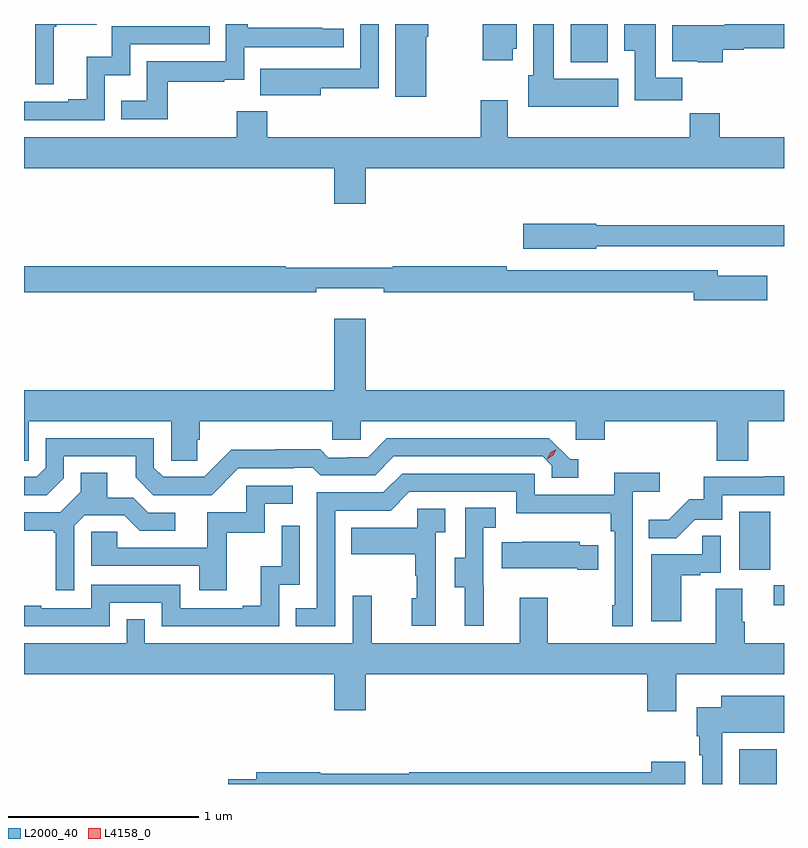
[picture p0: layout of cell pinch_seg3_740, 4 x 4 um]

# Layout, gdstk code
import gdstk
lib = gdstk.Library(unit=1e-6, precision=1e-09)
def R(c, l, rs):  # rectangles x0, y0, x1, y1
    for r in rs: c.add(gdstk.rectangle(r[:2], r[2:], *l))
def P(c, l, *ps):  # polygons
    for p in ps: c.add(gdstk.Polygon(p, *l))
L2000_40 = (2000, 40)
L4158_0 = (4158, 0)

pinch_seg3_740 = lib.new_cell('pinch_seg3_740')
R(pinch_seg3_740, L2000_40, [(838.466,744.295,838.663,744.478), (838.647,745.236,838.702,745.341), (838.466,745.422,838.63,745.729), (837.579,748.094,837.775,748.295)])
P(pinch_seg3_740, L2000_40, [(836.263,747.958),(836.568,747.958),(836.568,748.295),(836.472,748.295),(836.472,748.059),(836.159,748.059),(836.159,748.06),(835.945,748.06),(835.945,747.92),(836.263,747.92)],
  [(834.859,748.281),(834.871,748.281),(834.871,748.292),(835.084,748.292),(835.084,748.295),(834.762,748.295),(834.762,747.978),(834.859,747.978)],
  [(835.459,747.99),(835.757,747.99),(835.757,748.001),(835.86,748.001),(835.86,748.173),(836.386,748.173),(836.386,748.269),(836.273,748.269),(836.273,748.274),(835.88,748.274),(835.88,748.295),(835.764,748.295),(835.764,748.098),(835.348,748.098),(835.348,747.892),(835.213,747.892),(835.213,747.795),(835.459,747.795)],
  [(838.166,748.012),(838.027,748.012),(838.027,748.295),(837.86,748.295),(837.86,748.153),(837.917,748.153),(837.917,747.894),(838.166,747.894)],
  [(838.379,748.159),(838.491,748.159),(838.491,748.167),(838.702,748.167),(838.702,748.295),(838.391,748.295),(838.391,748.288),(838.115,748.288),(838.115,748.1),(838.248,748.1),(838.248,748.094),(838.379,748.094)],
  [(837.274,748.164),(837.295,748.164),(837.295,748.295),(837.116,748.295),(837.116,748.104),(837.274,748.104)],
  [(836.818,748.227),(836.83,748.227),(836.83,748.295),(836.657,748.295),(836.657,747.912),(836.818,747.912)],
  [(837.829,748.006),(837.49,748.006),(837.49,748.295),(837.383,748.295),(837.383,748.026),(837.356,748.026),(837.356,747.86),(837.829,747.86)],
  [(835.128,748.025),(835.26,748.025),(835.26,748.188),(835.679,748.188),(835.679,748.284),(835.164,748.284),(835.164,748.123),(835.031,748.123),(835.031,747.898),(834.935,747.898),(834.935,747.885),(834.702,747.885),(834.702,747.789),(835.128,747.789)],
  [(836.5,747.536),(838.702,747.536),(838.702,747.7),(838.364,747.7),(838.364,747.824),(838.207,747.824),(838.207,747.7),(837.247,747.7),(837.247,747.895),(837.107,747.895),(837.107,747.7),(835.982,747.7),(835.982,747.835),(835.822,747.835),(835.822,747.7),(834.702,747.7),(834.702,747.536),(836.336,747.536),(836.336,747.348),(836.5,747.348)],
  [(837.714,747.126),(838.45,747.126),(838.45,747.125),(838.702,747.125),(838.702,747.235),(837.714,747.235),(837.714,747.243),(837.33,747.243),(837.33,747.113),(837.714,747.113)],
  [(838.615,746.971),(838.354,746.971),(838.354,747),(837.242,747),(837.242,747.02),(836.642,747.02),(836.642,747.013),(836.079,747.013),(836.079,747.02),(834.702,747.02),(834.702,746.884),(836.24,746.884),(836.24,746.903),(836.596,746.903),(836.596,746.884),(838.226,746.884),(838.226,746.842),(838.615,746.842)],
  [(834.726,746.204),(835.476,746.204),(835.476,745.996),(835.613,745.996),(835.613,746.106),(835.628,746.106),(835.628,746.204),(836.325,746.204),(836.325,746.106),(836.475,746.106),(836.475,746.204),(837.606,746.204),(837.606,746.106),(837.758,746.106),(837.758,746.204),(838.349,746.204),(838.349,745.996),(838.514,745.996),(838.514,746.204),(838.702,746.204),(838.702,746.368),(836.5,746.368),(836.5,746.743),(836.336,746.743),(836.336,746.368),(834.702,746.368),(834.702,745.996),(834.726,745.996)],
  [(834.912,745.905),(834.912,746.019),(835.289,746.019),(835.289,745.909),(835.383,745.815),(835.689,745.815),(835.83,745.956),(836.123,745.956),(836.123,745.959),(836.222,745.959),(836.261,745.92),(836.55,745.92),(836.649,746.019),(837.432,746.019),(837.48,745.971),(837.48,745.908),(837.619,745.908),(837.619,746.004),(837.576,746.004),(837.465,746.115),(836.612,746.115),(836.513,746.016),(836.406,746.016),(836.406,746.013),(836.303,746.013),(836.261,746.056),(836.028,746.056),(836.028,746.053),(835.792,746.053),(835.65,745.911),(835.434,745.911),(835.386,745.959),(835.386,746.115),(834.816,746.115),(834.816,745.959),(834.768,745.911),(834.702,745.911),(834.702,745.815),(834.822,745.815)],
  [(834.966,745.653),(835.023,745.71),(835.229,745.71),(835.31,745.629),(835.498,745.629),(835.498,745.722),(835.356,745.722),(835.276,745.802),(835.141,745.802),(835.141,745.934),(835.001,745.934),(835.001,745.832),(834.894,745.725),(834.702,745.725),(834.702,745.628),(834.858,745.628),(834.858,745.617),(834.869,745.617),(834.869,745.314),(834.966,745.314)],
  [(836.34,745.734),(836.631,745.734),(836.73,745.833),(837.294,745.833),(837.294,745.721),(837.79,745.721),(837.79,745.625),(837.81,745.625),(837.81,745.237),(837.798,745.237),(837.798,745.125),(837.906,745.125),(837.906,745.832),(838.048,745.832),(838.048,745.934),(837.809,745.934),(837.809,745.818),(837.39,745.818),(837.39,745.929),(836.693,745.929),(836.594,745.83),(836.244,745.83),(836.244,745.221),(836.131,745.221),(836.131,745.125),(836.34,745.125)],
  [(838.233,745.686),(838.377,745.686),(838.377,745.815),(838.702,745.815),(838.702,745.916),(838.597,745.916),(838.597,745.911),(838.279,745.911),(838.279,745.794),(838.202,745.794),(838.095,745.687),(837.991,745.687),(837.991,745.588),(838.135,745.588)],
  [(835.769,745.617),(835.968,745.617),(835.968,745.77),(836.116,745.77),(836.116,745.866),(835.872,745.866),(835.872,745.725),(835.667,745.725),(835.667,745.539),(835.193,745.539),(835.193,745.623),(835.056,745.623),(835.056,745.443),(835.625,745.443),(835.625,745.314),(835.769,745.314)],
  [(837.122,745.341),(837.12,745.341),(837.12,745.645),(837.184,745.645),(837.184,745.748),(837.024,745.748),(837.024,745.485),(836.969,745.485),(836.969,745.33),(837.023,745.33),(837.023,745.128),(837.122,745.128)],
  [(836.868,745.619),(836.92,745.619),(836.92,745.743),(836.772,745.743),(836.772,745.645),(836.425,745.645),(836.425,745.505),(836.76,745.505),(836.76,745.391),(836.77,745.391),(836.77,745.272),(836.744,745.272),(836.744,745.128),(836.868,745.128)],
  [(835.152,745.248),(835.428,745.248),(835.428,745.125),(836.046,745.125),(836.046,745.344),(836.154,745.344),(836.154,745.654),(836.058,745.654),(836.058,745.442),(835.949,745.442),(835.949,745.234),(835.853,745.234),(835.853,745.221),(835.524,745.221),(835.524,745.344),(835.056,745.344),(835.056,745.221),(834.793,745.221),(834.793,745.234),(834.702,745.234),(834.702,745.125),(835.152,745.125)],
  [(838.162,745.395),(838.262,745.395),(838.262,745.407),(838.368,745.407),(838.368,745.601),(838.273,745.601),(838.273,745.503),(838.004,745.503),(838.004,745.152),(838.162,745.152)],
  [(837.725,745.552),(837.627,745.552),(837.627,745.57),(837.325,745.57),(837.325,745.567),(837.217,745.567),(837.217,745.43),(837.614,745.43),(837.614,745.423),(837.725,745.423)],
  [(838.135,744.872),(838.702,744.872),(838.702,745.036),(838.496,745.036),(838.496,745.148),(838.483,745.148),(838.483,745.322),(838.343,745.322),(838.343,745.036),(837.459,745.036),(837.459,745.276),(837.311,745.276),(837.311,745.036),(836.531,745.036),(836.531,745.285),(836.433,745.285),(836.433,745.036),(835.338,745.036),(835.338,745.163),(835.242,745.163),(835.242,745.036),(834.702,745.036),(834.702,744.872),(836.336,744.872),(836.336,744.684),(836.5,744.684),(836.5,744.872),(837.983,744.872),(837.983,744.678),(838.135,744.678)],
  [(838.378,744.566),(838.702,744.566),(838.702,744.76),(838.373,744.76),(838.373,744.7),(838.244,744.7),(838.244,744.546),(838.256,744.546),(838.256,744.446),(838.271,744.446),(838.271,744.295),(838.378,744.295)],
  [(838.183,744.412),(838.004,744.412),(838.004,744.356),(836.729,744.356),(836.729,744.349),(836.26,744.349),(836.26,744.356),(835.925,744.356),(835.925,744.32),(835.776,744.32),(835.776,744.295),(838.183,744.295)])
P(pinch_seg3_740, L4158_0, [(837.456,746.005),(837.456,746.005),(837.472,746.038),(837.502,746.058),(837.503,746.058),(837.503,746.057),(837.487,746.025),(837.456,746.005)])

lib.write_gds('pinch_seg3_740.gds')
